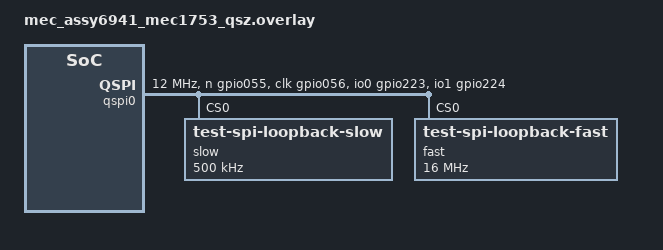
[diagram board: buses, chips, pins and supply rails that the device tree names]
/*
 * Copyright (c) 2024 Microchip Technology Inc.
 * SPDX-License-Identifier: Apache-2.0
 */

/ {
	aliases {
		spi0 = &qspi0;
	};
};

/* Loopback requires wire connecting qspi_shd_io0_gpio223 to qspi_shd_io1_gpio224 */

&qspi0 {
	status = "okay";
	compatible = "microchip,mec5-qspi";
	clock-frequency = <12000000>;

	pinctrl-0 = <&qspi_shd_cs0_n_gpio055 &qspi_shd_clk_gpio056
		     &qspi_shd_io0_gpio223 &qspi_shd_io1_gpio224>;
	pinctrl-names = "default";

	slow@0 {
		compatible = "test-spi-loopback-slow";
		reg = <0>;
		spi-max-frequency = <500000>;
	};

	fast@0 {
		compatible = "test-spi-loopback-fast";
		reg = <0>;
		spi-max-frequency = <16000000>;
	};
};
